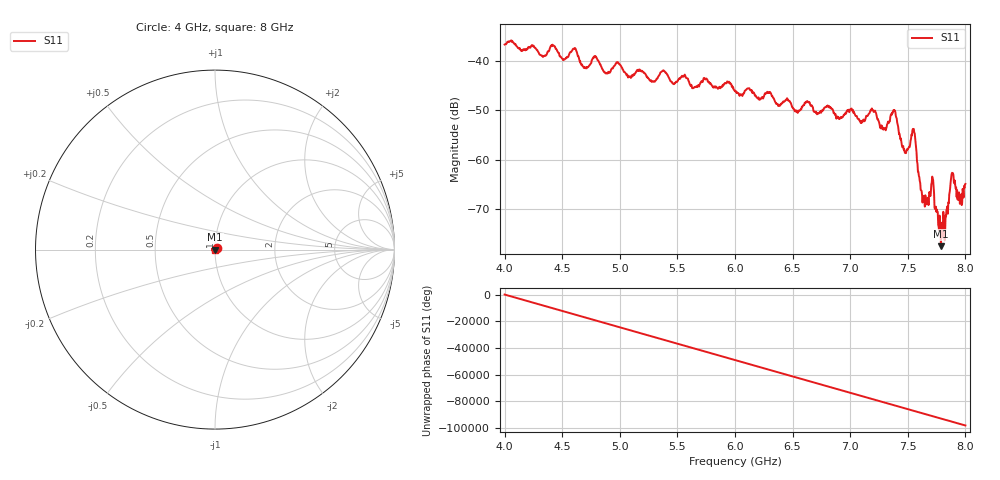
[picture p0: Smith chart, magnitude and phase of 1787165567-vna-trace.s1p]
! Created with skrf 1.10.0 (http://scikit-rf.org).
# Hz S RI R 50.0
!freq ReS11 ImS11
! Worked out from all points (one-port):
!   1001 points, 4 GHz to 8 GHz, reference 50 ohm
!   lowest |S11| = -77.4 dB at 7.788 GHz (marker M1), VSWR 1.00, Z = 50 + j0.00338 ohm
!   |S11| at or under -10 dB: start of sweep to end of sweep
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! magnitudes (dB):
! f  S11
! 4 GHz  -36.7
! 4.336 GHz  -39.2
! 4.42 GHz  -36.9
! 4.5 GHz  -39.6
! 4.604 GHz  -37.5
! 4.696 GHz  -41.4
! 4.784 GHz  -39.1
! 4.876 GHz  -42.6
! 5 GHz  -40.8
! 5.08 GHz  -43.3
! 5.5 GHz  -44.1
! 6 GHz  -46.2
! 6.5 GHz  -49.4
! 7 GHz  -49.8
! 7.1 GHz  -52.5
! 7.2 GHz  -50.1
! 7.296 GHz  -53.6
! 7.376 GHz  -50.0
! 7.464 GHz  -57.9
! 7.5 GHz  -57.9
! 7.552 GHz  -53.8
! 7.628 GHz  -68.6
! 7.708 GHz  -64.6
! 7.788 GHz  -77.4
! 7.836 GHz  -70.0
! 7.888 GHz  -62.8
! 7.952 GHz  -68.9
! 8 GHz  -64.8
